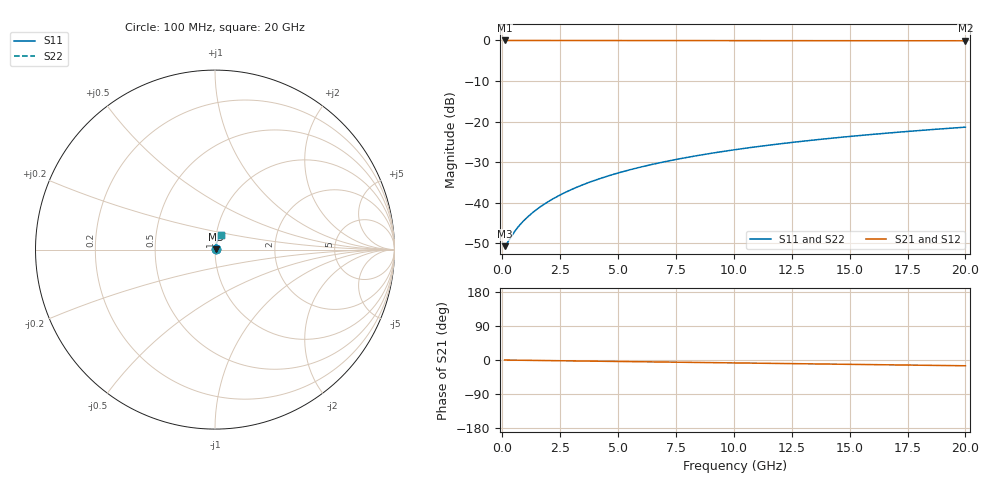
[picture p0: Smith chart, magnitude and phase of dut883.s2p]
! Touchstone file exported from HFSS 2026.1.0
!  File:  C:/ffzhzh/LocalFiles/Ansys_Project_Files/temp_train_BSMRDL_883_1783171100_43440.aedt
!  Generated:  09:19:33 PM Jul  4, 2026
!  Design:  BSMRDL
!  Project:  temp_train_BSMRDL_883_1783171100_43440
! Variables:
!  h_bsmrdl = 2.39um
!  h_ox = 20um
!  h_rdl = 5um
!  h_sub = 80um
!  h_tmrdl = 5um
!  h_tsv = 80um
!  h_via = 3um
!  l_bsmrdl = 249.7um
!  l_sub = 649.7um
!  l_tmrdl = 200um
!  m_sub = 200um
!  pitch = 20.36um
!  r_tsv = 6um
!  s_tmrdl = 10um
!  w_bsmrdl = 14.29um
!  w_sub = 500um
!  w_tmrdl = 12um
!  x_tsv_center1 = 206um
!  x_tsv_center2 = 469.99um
!  x_tsv_center3 = 681.99um
!  x_tsv_center4 = 945.98um
!  x_tsv_center5 = 1157.98um
!  x_tsv_center6 = 1421.97um
# GHz S MA R 50.000000
! Terminal data exported
! Port[1] = BSM_RDL1_1_T1
! Port[2] = BSM_RDL1_1_T2
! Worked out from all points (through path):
!   200 points, 100 MHz to 20 GHz, reference 50 ohm
!   highest |S21| = -0.02 dB at 100 MHz (marker M1); lowest = -0.1 dB at 20 GHz (marker M2)
!   group delay of S21, straight-line fit = 2.11 ps
!   lowest |S11| = -50.7 dB at 100 MHz (marker M3), VSWR 1.01, Z = 50.3 + j0.0616 ohm
!   |S11| at or under -10 dB: start of sweep to end of sweep
!   |S22| runs from -50.7 to -21.4 dB; largest |S21 - S12| = 5.5e-15
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0.1  0.002919 12.1  0.9971 -0.1  0.9971 -0.1  0.002919 12.1
! Gamma 0 0 0 0
! Port Impedance 50 0 50 0
0.2  0.003157 22.5  0.9971 -0.2  0.9971 -0.2  0.003157 22.5
0.5  0.004281 41.2  0.9968 -0.4  0.9968 -0.4  0.004281 41.2
0.7  0.005098 47.7  0.9966 -0.6  0.9966 -0.6  0.005098 47.7
1  0.006309 54.3  0.9963 -0.8  0.9963 -0.8  0.006309 54.3
1.2  0.007114 57.5  0.9962 -1.0  0.9962 -1.0  0.007115 57.5
1.4  0.007923 60.1  0.9961 -1.1  0.9961 -1.1  0.007923 60.1
1.8  0.009559 64.1  0.996 -1.4  0.996 -1.4  0.009559 64.1
2.3  0.01164 67.5  0.9958 -1.8  0.9958 -1.8  0.01164 67.5
2.9  0.01418 70.3  0.9957 -2.3  0.9957 -2.3  0.01418 70.3
3.5  0.01675 72.1  0.9955 -2.7  0.9955 -2.7  0.01675 72.1
4.2  0.01978 73.5  0.9953 -3.3  0.9953 -3.3  0.01978 73.5
5  0.02325 74.5  0.9951 -3.9  0.9951 -3.9  0.02325 74.5
5.9  0.02717 75.0  0.9947 -4.6  0.9947 -4.6  0.02717 75.0
6.8  0.03108 75.3  0.9944 -5.3  0.9944 -5.3  0.03108 75.3
8.3  0.03756 75.1  0.9938 -6.4  0.9938 -6.4  0.03756 75.1
10.1  0.04524 74.5  0.9929 -7.8  0.9929 -7.8  0.04524 74.5
11.7  0.05197 73.8  0.9921 -9.0  0.9921 -9.0  0.05197 73.8
13.4  0.05901 72.8  0.9912 -10.3  0.9912 -10.3  0.05901 72.8
15  0.06554 71.9  0.9903 -11.5  0.9903 -11.5  0.06554 71.9
16.7  0.07236 70.8  0.9893 -12.8  0.9893 -12.8  0.07236 70.8
20  0.08532 68.7  0.9873 -15.2  0.9873 -15.2  0.08532 68.7
